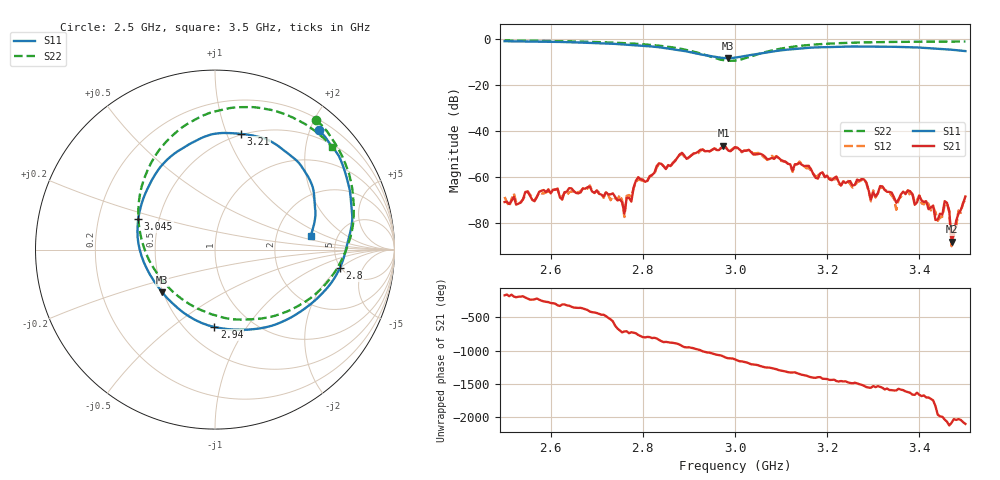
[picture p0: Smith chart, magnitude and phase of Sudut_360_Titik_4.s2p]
# Hz S RI R 50
! CMT, C1220, 16058040, 17.2.0/1
! Date: 15/08/2018 10:37:02
! Data: Format (Calibration Info)
! Freq  S11: Re/Im (F2)  S21: Re/Im (F2)  S12: Re/Im (F2)  S22: Re/Im (F2)
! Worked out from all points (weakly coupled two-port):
!   201 points, 2.5 GHz to 3.5 GHz, reference 50 ohm
!   highest |S21| = -46.52 dB at 2.975 GHz (marker M1); lowest = -88.2 dB at 3.47 GHz (marker M2)
!   lowest |S11| = -8.4 dB at 2.985 GHz (marker M3), VSWR 2.22, Z = 24.8 - j13.8 ohm
!   |S11| at or under -10 dB: nowhere
!   |S22| runs from -9.6 to -0.8 dB; largest |S21 - S12| = 0.00029
!   S11 on the Smith chart (normalised r, x): 2.5 GHz: 0.35, +2.14; 2.8 GHz: 4.91, -1.98; 2.94 GHz: 0.68, -0.72; 3.045 GHz: 0.38, +0.17; 3.21 GHz: 0.49, +1.12; 3.5 GHz: 3.17, +0.69
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2.5e9  0.5781 0.6674  -0.000274 -6.94e-05  -0.000355 -8.24e-05  0.5651 0.7226
2.67e9  0.7488 0.3412  0.000559 -4.18e-05  0.000546 -9.91e-05  0.7366 0.4522
2.75e9  0.7537 0.0969  0.000293 0.00013  0.00035 0.000207  0.7734 0.2446
2.76e9  0.7447 0.0617  0.000157 2.73e-05  0.000133 1.62e-05  0.7736 0.2148
2.765e9  0.7402 0.0437  0.000342 6.83e-05  0.000377 7.69e-05  0.7731 0.1981
2.8e9  0.6959 -0.1018  0.000203 -0.000845  0.000229 -0.000786  0.7555 0.0741
2.835e9  0.6111 -0.2294  -0.000923 -0.00174  -0.000839 -0.00171  0.7028 -0.0636
2.94e9  -0.00366 -0.4314  0.00225 0.00285  0.00214 0.00289  0.1785 -0.3891
2.975e9  -0.2378 -0.2983  0.00467 -0.000719  0.00444 -0.000721  -0.0987 -0.3281
2.985e9  -0.2935 -0.2386  0.00306 -0.00214  0.00313 -0.00204  -0.1719 -0.2847
3e9  -0.3615 -0.1412  0.0027 -0.00346  0.00257 -0.00357  -0.2696 -0.1991
3.045e9  -0.4279 0.171  -0.00209 -0.00222  -0.00219 -0.0024  -0.4238 0.1362
3.17e9  -0.00616 0.6445  0.000962 0.000606  0.000921 0.00071  -0.0798 0.7409
3.21e9  0.145 0.6444  0.000842 -2.51e-05  0.000889 -9.34e-05  0.0659 0.785
3.295e9  0.3866 0.5516  -0.000162 -0.000276  -0.000146 -0.000254  0.3124 0.7783
3.335e9  0.4679 0.4825  -0.000423 -0.000205  -0.000412 -0.00019  0.4027 0.7493
3.35e9  0.4909 0.4505  -0.000256 -9.08e-05  -0.000189 -3.3e-05  0.4315 0.7366
3.4e9  0.547 0.3376  -0.000263 0.000283  -0.000212 0.000336  0.5194 0.6877
3.435e9  0.556 0.2425  9.33e-05 -6.77e-05  0.000122 -0.00012  0.5716 0.6488
3.455e9  0.5597 0.1935  -0.000151 0.000254  -0.000105 0.000226  0.5993 0.626
3.47e9  0.5551 0.1579  1.23e-05 3.69e-05  1.3e-05 2.82e-05  0.6167 0.6096
3.5e9  0.533 0.0779  0.000215 0.000304  0.000213 0.000228  0.6511 0.574
